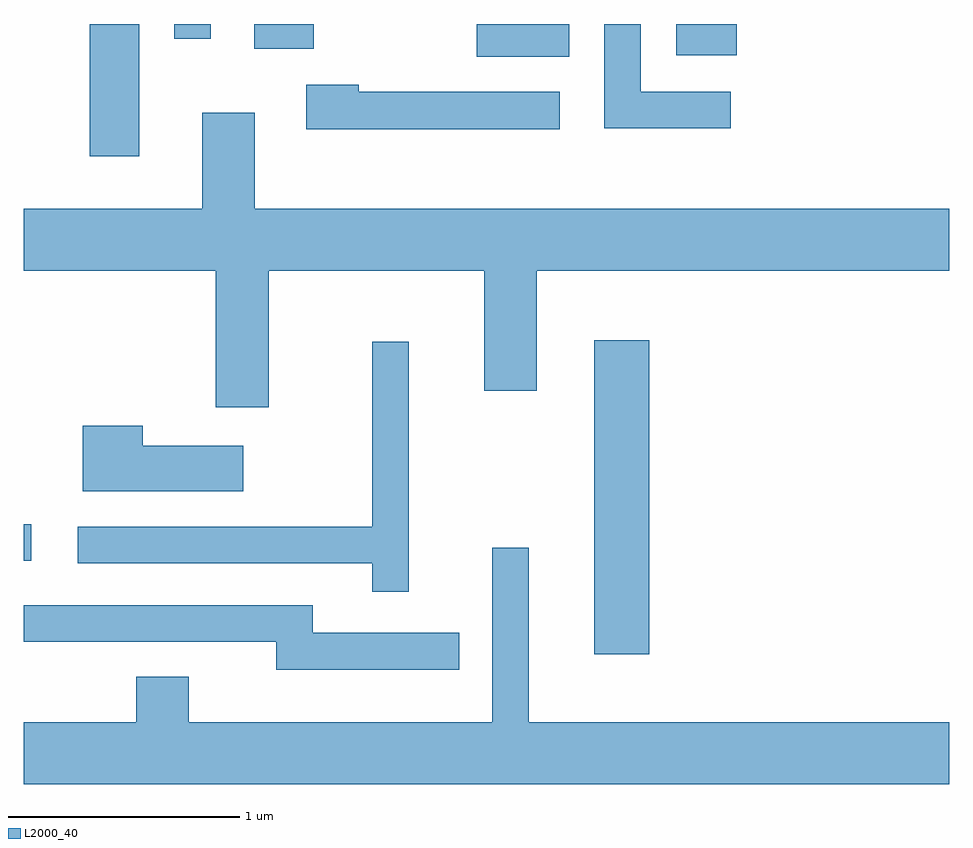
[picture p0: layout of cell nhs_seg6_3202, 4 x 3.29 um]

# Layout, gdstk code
import gdstk
lib = gdstk.Library(unit=1e-6, precision=1e-09)
def R(c, l, rs):  # rectangles x0, y0, x1, y1
    for r in rs: c.add(gdstk.rectangle(r[:2], r[2:], *l))
def P(c, l, *ps):  # polygons
    for p in ps: c.add(gdstk.Polygon(p, *l))
L2000_40 = (2000, 40)

nhs_seg6_3202 = lib.new_cell('nhs_seg6_3202')
R(nhs_seg6_3202, L2000_40, [(284.076,1599.436,284.314,1600.794), (281.611,1599.841,281.643,1599.999), (281.896,1601.591,282.109,1602.162), (283.568,1602.021,283.969,1602.162), (284.431,1602.026,284.694,1602.162), (282.606,1602.056,282.864,1602.162), (282.261,1602.098,282.419,1602.162)])
P(nhs_seg6_3202, L2000_40, [(284.668,1601.869),(284.279,1601.869),(284.279,1602.162),(284.121,1602.162),(284.121,1601.711),(284.668,1601.711)],
  [(283.928,1601.869),(283.059,1601.869),(283.059,1601.899),(282.831,1601.899),(282.831,1601.706),(283.928,1601.706)],
  [(282.669,1601.096),(283.601,1601.096),(283.601,1600.576),(283.829,1600.576),(283.829,1601.096),(285.611,1601.096),(285.611,1601.364),(282.609,1601.364),(282.609,1601.779),(282.381,1601.779),(282.381,1601.364),(281.611,1601.364),(281.611,1601.096),(282.441,1601.096),(282.441,1600.506),(282.669,1600.506)],
  [(283.274,1600.788),(283.116,1600.788),(283.116,1599.989),(281.843,1599.989),(281.843,1599.831),(283.116,1599.831),(283.116,1599.708),(283.274,1599.708)],
  [(282.559,1600.339),(282.124,1600.339),(282.124,1600.424),(281.866,1600.424),(281.866,1600.141),(282.559,1600.141)],
  [(285.611,1599.144),(283.794,1599.144),(283.794,1599.898),(283.636,1599.898),(283.636,1599.144),(282.324,1599.144),(282.324,1599.339),(282.096,1599.339),(282.096,1599.144),(281.611,1599.144),(281.611,1598.876),(285.611,1598.876)],
  [(283.493,1599.529),(282.859,1599.529),(282.859,1599.649),(281.611,1599.649),(281.611,1599.491),(282.701,1599.491),(282.701,1599.371),(283.493,1599.371)])

lib.write_gds('nhs_seg6_3202.gds')
